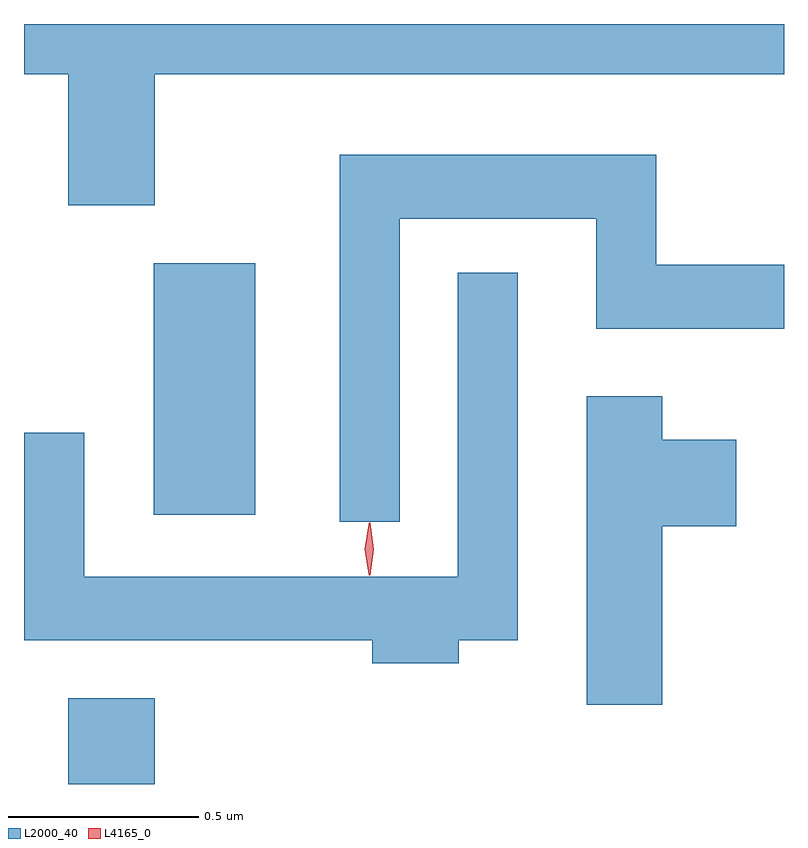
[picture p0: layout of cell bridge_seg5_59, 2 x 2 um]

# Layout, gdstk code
import gdstk
lib = gdstk.Library(unit=1e-6, precision=1e-09)
def R(c, l, rs):  # rectangles x0, y0, x1, y1
    for r in rs: c.add(gdstk.rectangle(r[:2], r[2:], *l))
def P(c, l, *ps):  # polygons
    for p in ps: c.add(gdstk.Polygon(p, *l))
L2000_40 = (2000, 40)
L4165_0 = (4165, 0)

bridge_seg5_59 = lib.new_cell('bridge_seg5_59')
R(bridge_seg5_59, L2000_40, [(1316.901,1472.688,1317.129,1472.914), (1317.126,1473.396,1317.394,1474.059)])
P(bridge_seg5_59, L2000_40, [(1317.129,1474.556),(1318.785,1474.556),(1318.785,1474.688),(1316.785,1474.688),(1316.785,1474.556),(1316.901,1474.556),(1316.901,1474.211),(1317.129,1474.211)],
  [(1317.774,1474.176),(1318.291,1474.176),(1318.291,1473.886),(1318.785,1473.886),(1318.785,1474.054),(1318.449,1474.054),(1318.449,1474.344),(1317.616,1474.344),(1317.616,1473.378),(1317.774,1473.378)],
  [(1317.929,1473.066),(1318.084,1473.066),(1318.084,1474.033),(1317.926,1474.033),(1317.926,1473.234),(1316.944,1473.234),(1316.944,1473.613),(1316.786,1473.613),(1316.786,1473.066),(1317.701,1473.066),(1317.701,1473.006),(1317.929,1473.006)],
  [(1318.464,1473.366),(1318.659,1473.366),(1318.659,1473.594),(1318.464,1473.594),(1318.464,1473.709),(1318.266,1473.709),(1318.266,1472.896),(1318.464,1472.896)])
P(bridge_seg5_59, L4165_0, [(1317.694,1473.237),(1317.685,1473.306),(1317.694,1473.376),(1317.695,1473.376),(1317.696,1473.376),(1317.705,1473.306),(1317.696,1473.237),(1317.695,1473.237)],
  [(1317.692,1473.239),(1317.692,1473.24),(1317.682,1473.306),(1317.692,1473.372),(1317.692,1473.373),(1317.693,1473.372),(1317.702,1473.306),(1317.693,1473.24)])

lib.write_gds('bridge_seg5_59.gds')
